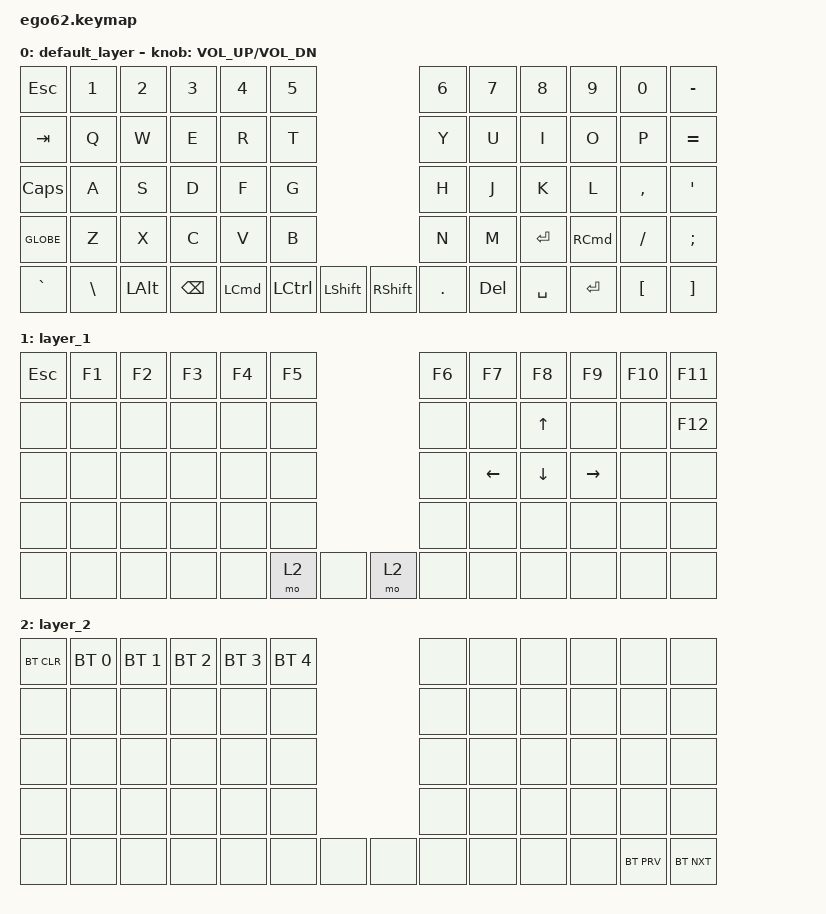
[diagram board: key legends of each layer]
/*
 * Copyright (c) 2020 The ZMK Contributors
 *
 * SPDX-License-Identifier: MIT
 */

#include <behaviors.dtsi>
#include <dt-bindings/zmk/bt.h>
#include <dt-bindings/zmk/keys.h>

/ {
    keymap {
        compatible = "zmk,keymap";

        default_layer {
            bindings = <
&kp ESCAPE    &kp N1         &kp N2        &kp N3         &kp N4            &kp NUMBER_5                                       &kp NUMBER_6  &kp N7      &kp N8      &kp N9             &kp N0     &kp MINUS
&kp TAB       &kp Q          &kp W         &kp E          &kp R             &kp T                                              &kp Y         &kp U       &kp I       &kp O              &kp P      &kp EQUAL
&kp CAPSLOCK  &kp A          &kp S         &kp D          &kp F             &kp G                                              &kp H         &kp J       &kp K       &kp L              &kp COMMA  &kp SQT
&kp GLOBE     &kp Z          &kp X         &kp C          &kp V             &kp B                                              &kp N         &kp M       &kp RETURN  &kp RIGHT_COMMAND  &kp FSLH   &kp SEMICOLON
&kp GRAVE     &kp BACKSLASH  &kp LEFT_ALT  &kp BACKSPACE  &kp LEFT_COMMAND  &kp LEFT_CONTROL  &kp LEFT_SHIFT  &kp RIGHT_SHIFT  &kp DOT       &kp DELETE  &kp SPACE   &kp ENTER          &kp LBKT   &kp RBKT
            >;

            sensor-bindings = <&inc_dec_kp C_VOL_UP C_VOL_DN>;
        };

        layer_1 {
            bindings = <
&kp ESC  &kp F1  &kp F2  &kp F3  &kp F4  &kp F5                &kp F6  &kp F7    &kp F8    &kp F9     &kp F10  &kp F11
&none    &none   &none   &none   &none   &none                 &none   &none     &kp UP    &none      &none    &kp F12
&none    &none   &none   &none   &none   &none                 &none   &kp LEFT  &kp DOWN  &kp RIGHT  &none    &none
&none    &none   &none   &none   &none   &none                 &none   &none     &none     &none      &none    &none
&none    &none   &none   &none   &none   &mo 2   &none  &mo 2  &none   &none     &none     &none      &none    &none
            >;
        };

        layer_2 {
            bindings = <
&bt BT_CLR  &bt BT_SEL 0  &bt BT_SEL 1  &bt BT_SEL 2  &bt BT_SEL 3  &bt BT_SEL 4                &none  &none  &none  &none  &none       &none
&none       &none         &none         &none         &none         &none                       &none  &none  &none  &none  &none       &none
&none       &none         &none         &none         &none         &none                       &none  &none  &none  &none  &none       &none
&none       &none         &none         &none         &none         &none                       &none  &none  &none  &none  &none       &none
&none       &none         &none         &none         &none         &none         &none  &none  &none  &none  &none  &none  &bt BT_PRV  &bt BT_NXT
            >;
        };
    };
};
